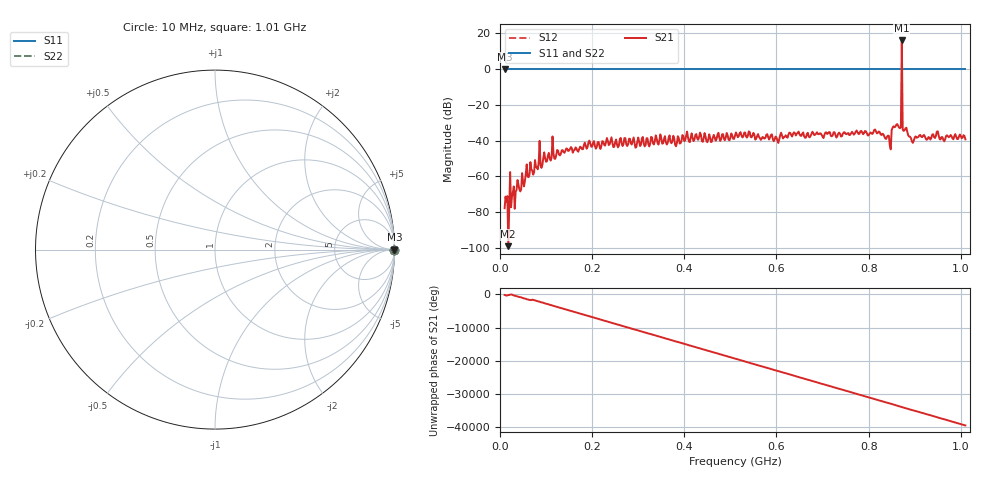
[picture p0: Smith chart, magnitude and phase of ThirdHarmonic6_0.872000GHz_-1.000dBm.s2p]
! 8/16/2025 4:47:05 AM
! C:\ANRITSUVNA\TEMP\TEMP.S2P
! CHANNEL.1
! TR.MEASUREMENT
! RAW.DATA
! RF.CORRECTION.OFF
! AVERAGING.OFF
! IF.BANDWIDTH: 5KHZ
! SWEEPTYPE:  FREQ.SWEEP(Linear)
! Reference Plane Port Info
! PORT:  PORT1  PORT2
! DISTANCE:  0  m  0  m
! TIME:  0  s  0  s
! PHASE.OFFSET:  0  deg.  0  deg.
! LOSS:  0  dB  0  dB
! REF.LOSS:  0  dB  0  dB
! REF.FREQ:  0  Hz  0  Hz
! Power Info
! POWER:  -20  dBm  -20  dBm
! EFF.POWER:  -20  dBm  -20  dBm
! SOURCE.ATTEN:  0  dB  0  dB
! TEST.ATTEN:  0  dB  0  dB
# GHZ S RI R 50.0
! FREQ.GHZ  S11RE  S11IM  S21RE  S21IM  S12RE  S12IM  S22RE  S22IM
!; PortSelection: Port_12
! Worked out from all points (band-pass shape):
!   501 points, 10 MHz to 1.01 GHz, reference 50 ohm
!   highest |S21| = 16.01 dB at 872 MHz (marker M1); lowest = -99.1 dB at 18 MHz (marker M2)
!   |S21| within 3 dB of the highest: 871.8764 MHz to 872.1201 MHz (243.7 kHz wide, 0.0279 % of centre)
!   lowest |S11| = 0.0 dB at 10 MHz (marker M3)
!   |S11| at or under -10 dB: nowhere
!   |S22| runs from 0.0 to 0.0 dB; largest |S21 - S12| = 5.6
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0.01  1 0  -0.000122 -3.83e-05  1 0  1 0
0.018  1 0  -1.11e-05 0  1 0  1 0
0.022  1 0  0.000884 -0.000973  1 0  1 0
0.026  1 0  0.000224 -0.000157  1 0  1 0
0.028  1 0  -0.000352 -8.43e-05  1 0  1 0
0.082  1 0  -0.000948 0.00125  1 0  1 0
0.178  1 0  -0.00572 -0.000585  1 0  1 0
0.344  1 0  0.00735 -0.00236  1 0  1 0
0.51  1 0  -0.0126 0.00564  1 0  1 0
0.6  1 0  -0.00564 0.0109  1 0  1 0
0.678  1 0  -0.0115 -0.0133  1 0  1 0
0.816  1 0  0.00976 0.0151  1 0  1 0
0.844  1 0  0.0114 0.00707  1 0  1 0
0.854  1 0  0.0249 -0.00273  1 0  1 0
0.866  1 0  -0.0217 -0.00783  1 0  1 0
0.868  1 0  -0.0113 0.0191  1 0  1 0
0.872  1 0  4.748 -4.166  1 0  1 0
0.876  1 0  -0.016 0.00952  1 0  1 0
0.878  1 0  0.00511 0.0187  1 0  1 0
0.896  1 0  0.00234 0.00831  1 0  1 0
0.948  1 0  -0.0169 0.00526  1 0  1 0
1.01  1 0  -0.0108 -9.65e-05  1 0  1 0
